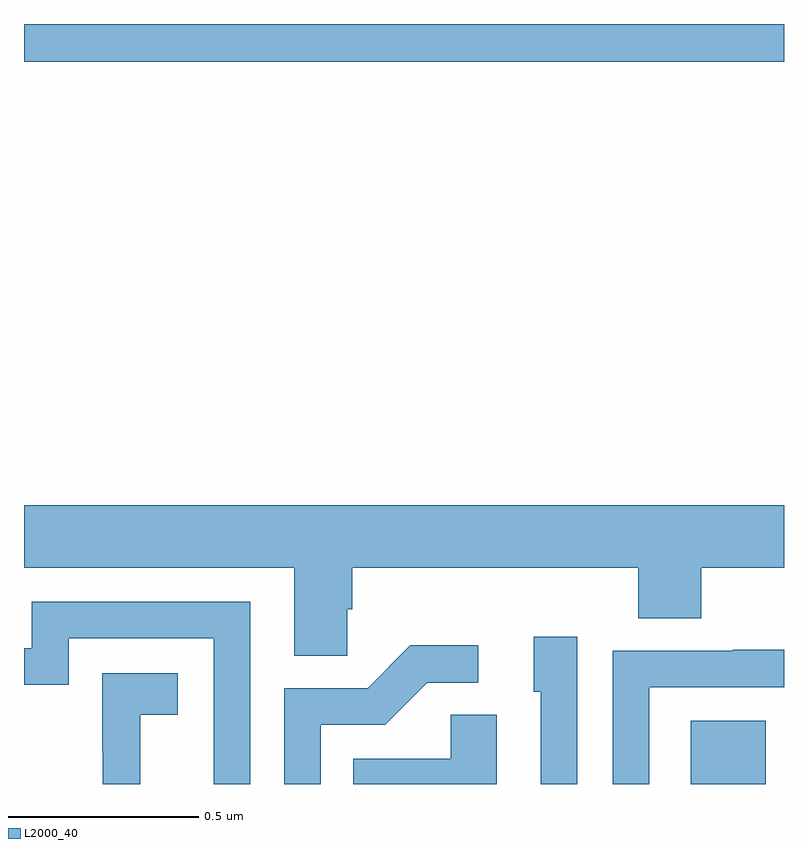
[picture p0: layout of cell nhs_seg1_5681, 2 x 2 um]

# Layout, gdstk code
import gdstk
lib = gdstk.Library(unit=1e-6, precision=1e-09)
def R(c, l, rs):  # rectangles x0, y0, x1, y1
    for r in rs: c.add(gdstk.rectangle(r[:2], r[2:], *l))
def P(c, l, *ps):  # polygons
    for p in ps: c.add(gdstk.Polygon(p, *l))
L2000_40 = (2000, 40)

nhs_seg1_5681 = lib.new_cell('nhs_seg1_5681')
R(nhs_seg1_5681, L2000_40, [(183.755,515.199,183.952,515.365), (182,517.1,184,517.199)])
P(nhs_seg1_5681, L2000_40, [(182.85,515.659),(182.864,515.659),(182.864,515.768),(183.617,515.768),(183.617,515.635),(183.782,515.635),(183.782,515.768),(184,515.768),(184,515.932),(182,515.932),(182,515.768),(182.711,515.768),(182.711,515.536),(182.85,515.536)],
  [(182.595,515.679),(182.021,515.679),(182.021,515.556),(182,515.556),(182,515.46),(182.118,515.46),(182.118,515.583),(182.499,515.583),(182.499,515.199),(182.595,515.199)],
  [(183.456,515.587),(183.341,515.587),(183.341,515.442),(183.36,515.442),(183.36,515.199),(183.456,515.199)],
  [(182.781,515.355),(182.95,515.355),(183.061,515.466),(183.196,515.466),(183.196,515.564),(183.017,515.564),(182.904,515.451),(182.685,515.451),(182.685,515.199),(182.781,515.199)],
  [(183.645,515.454),(184,515.454),(184,515.552),(183.865,515.552),(183.865,515.55),(183.549,515.55),(183.549,515.199),(183.645,515.199)],
  [(182.306,515.381),(182.404,515.381),(182.404,515.491),(182.206,515.491),(182.206,515.285),(182.207,515.285),(182.207,515.199),(182.306,515.199)],
  [(183.244,515.381),(183.123,515.381),(183.123,515.266),(182.866,515.266),(182.866,515.199),(183.244,515.199)])

lib.write_gds('nhs_seg1_5681.gds')
